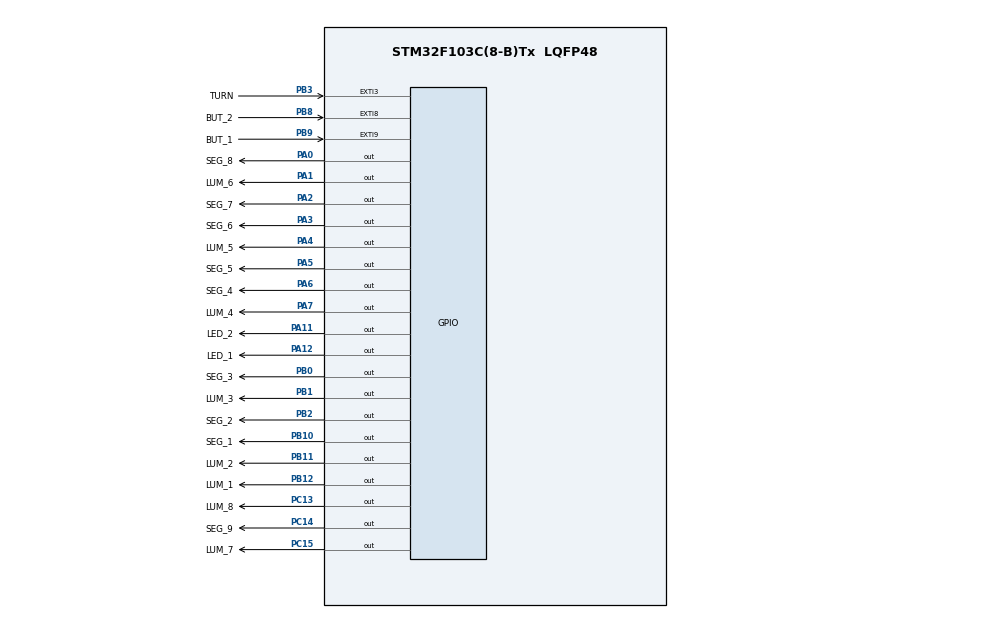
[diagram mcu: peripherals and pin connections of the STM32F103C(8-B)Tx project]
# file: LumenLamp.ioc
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Mcu.Family=STM32F1
Mcu.Name=STM32F103C(8-B)Tx
Mcu.Package=LQFP48
NVIC.PriorityGroup=NVIC_PRIORITYGROUP_4
NVIC.TIM1_UP_IRQn=true\:0\:0\:false\:false\:true\:true\:true\:true
PA0-WKUP.GPIO_Label=SEG_8
PA0-WKUP.PinState=GPIO_PIN_SET
PA0-WKUP.Signal=GPIO_Output
PA1.GPIO_Label=LUM_6
PA1.PinState=GPIO_PIN_SET
PA1.Signal=GPIO_Output
PA11.GPIO_Label=LED_2
PA11.Signal=GPIO_Output
PA12.GPIO_Label=LED_1
PA12.Signal=GPIO_Output
PA13.Mode=Serial_Wire
PA13.Signal=SYS_JTMS-SWDIO
PA14.Mode=Serial_Wire
PA14.Signal=SYS_JTCK-SWCLK
PA2.GPIO_Label=SEG_7
PA2.PinState=GPIO_PIN_SET
PA2.Signal=GPIO_Output
PA3.GPIO_Label=SEG_6
PA3.PinState=GPIO_PIN_SET
PA3.Signal=GPIO_Output
PA4.GPIO_Label=LUM_5
PA4.PinState=GPIO_PIN_SET
PA4.Signal=GPIO_Output
PA5.GPIO_Label=SEG_5
PA5.PinState=GPIO_PIN_SET
PA5.Signal=GPIO_Output
PA6.GPIO_Label=SEG_4
PA6.PinState=GPIO_PIN_SET
PA6.Signal=GPIO_Output
PA7.GPIO_Label=LUM_4
PA7.PinState=GPIO_PIN_SET
PA7.Signal=GPIO_Output
PB0.GPIO_Label=SEG_3
PB0.PinState=GPIO_PIN_SET
PB0.Signal=GPIO_Output
PB1.GPIO_Label=LUM_3
PB1.PinState=GPIO_PIN_SET
PB1.Signal=GPIO_Output
PB10.GPIO_Label=SEG_1
PB10.PinState=GPIO_PIN_SET
PB10.Signal=GPIO_Output
PB11.GPIO_Label=LUM_2
PB11.PinState=GPIO_PIN_SET
PB11.Signal=GPIO_Output
PB12.GPIO_Label=LUM_1
PB12.PinState=GPIO_PIN_SET
PB12.Signal=GPIO_Output
PB2.GPIO_Label=SEG_2
PB2.PinState=GPIO_PIN_SET
PB2.Signal=GPIO_Output
PB3.GPIO_Label=TURN
PB3.GPIO_ModeDefaultEXTI=GPIO_MODE_IT_FALLING
PB3.GPIO_PuPd=GPIO_PULLUP
PB3.Signal=GPXTI3
PB8.GPIO_Label=BUT_2
PB8.GPIO_ModeDefaultEXTI=GPIO_MODE_IT_FALLING
PB8.GPIO_PuPd=GPIO_PULLUP
PB8.Signal=GPXTI8
PB9.GPIO_Label=BUT_1
PB9.GPIO_ModeDefaultEXTI=GPIO_MODE_IT_FALLING
PB9.GPIO_PuPd=GPIO_PULLUP
PB9.Signal=GPXTI9
PC13-TAMPER-RTC.GPIO_Label=LUM_8
PC13-TAMPER-RTC.PinState=GPIO_PIN_SET
PC13-TAMPER-RTC.Signal=GPIO_Output
PC14-OSC32_IN.GPIO_Label=SEG_9
PC14-OSC32_IN.PinState=GPIO_PIN_SET
PC14-OSC32_IN.Signal=GPIO_Output
PC15-OSC32_OUT.GPIO_Label=LUM_7
PC15-OSC32_OUT.PinState=GPIO_PIN_SET
PC15-OSC32_OUT.Signal=GPIO_Output
ProjectManager.HeapSize=0x200
ProjectManager.StackSize=0x400
ProjectManager.TargetToolchain=STM32CubeIDE
RCC.APB1Freq_Value=8000000
RCC.APB2Freq_Value=8000000
TIM1.Period=10000
TIM1.Prescaler=800
VP_TIM1_VS_ClockSourceINT.Mode=Internal
board=custom

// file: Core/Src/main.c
/* USER CODE BEGIN Header */
/**
  ******************************************************************************
  * @file           : main.c
  * @brief          : Main program body
  ******************************************************************************
  * @attention
  *
  * Copyright (c) 2023 STMicroelectronics.
  * All rights reserved.
  *
  * This software is licensed under terms that can be found in the LICENSE file
  * in the root directory of this software component.
  * If no LICENSE file comes with this software, it is provided AS-IS.
  *
  ******************************************************************************
  */
/* USER CODE END Header */
#include "main.h"

/* USER CODE BEGIN PD */
#define SEG_1_GPIO GPIOB
#define SEG_2_GPIO GPIOB
#define SEG_3_GPIO GPIOB
#define SEG_4_GPIO GPIOA
#define SEG_5_GPIO GPIOA
#define SEG_6_GPIO GPIOA
#define SEG_7_GPIO GPIOA
#define SEG_8_GPIO GPIOA
#define SEG_9_GPIO GPIOC

#define LUM_1_GPIO GPIOB
#define LUM_2_GPIO GPIOB
#define LUM_3_GPIO GPIOB
#define LUM_4_GPIO GPIOA
#define LUM_5_GPIO GPIOA
#define LUM_6_GPIO GPIOA
#define LUM_7_GPIO GPIOC
#define LUM_8_GPIO GPIOC
/* USER CODE END PD */

TIM_HandleTypeDef htim1;

void SystemClock_Config(void);
static void MX_GPIO_Init(void);
static void MX_TIM1_Init(void);

/* USER CODE BEGIN PFP */
void TurnNumber(int number);
void TurnSegment(int number);
/* USER CODE END PFP */

/* USER CODE BEGIN 0 */
int delay = 4;
int second = 0;
int minute = 0;
int hour = 0;
/* USER CODE END 0 */

int main(void)
{

  /* MCU Configuration--------------------------------------------------------*/

  /* Reset of all peripherals, Initializes the Flash interface and the Systick. */
  HAL_Init();

  /* Configure the system clock */
  SystemClock_Config();

  /* Initialize all configured peripherals */
  MX_GPIO_Init();
  MX_TIM1_Init();
  /* USER CODE BEGIN 2 */
  HAL_TIM_Base_Start_IT(&htim1); // запуск таймера
  //TurnNumber(1);
  /* USER CODE END 2 */

  /* Infinite loop */
  /* USER CODE BEGIN WHILE */
  while (1)
  {
	  /*SEG_1 - LAST LEFT SEGMENT, SEG_9 - LAST RIGHT SEGMENT*/
	  /*SEG_1 - GPIOC, SEG_8_7_6_5_4 - GPIOA, SEG_3_2_1 - GPIOB*/
	  TurnSegment(1); // 1 second
	  TurnNumber(second%10);
	  HAL_Delay(delay);
	  TurnSegment(2);// 2 second
	  TurnNumber(second/10);
	  HAL_Delay(dedelayl);
	  TurnSegment(3); // tire
	  TurnNumber(10);
	  HAL_Delay(delay);
	  TurnSegment(4);// 1 minute
	  TurnNumber(minute%10);
	  HAL_Delay(delay);
	  TurnSegment(5);//2 minute
	  TurnNumber(minute/10);
	  HAL_Delay(delay);
	  TurnSegment(6); // tire
	  TurnNumber(10);
	  HAL_Delay(delay);
	  TurnSegment(7); //1 hour
	  TurnNumber(hour%10);
	  HAL_Delay(delay);
	  TurnSegment(8); //2 hour
	  TurnNumber(hour/10);
	  HAL_Delay(delay);

    /* USER CODE END WHILE */

  }
}

void SystemClock_Config(void)
{
  RCC_OscInitTypeDef RCC_OscInitStruct = {0};
  RCC_ClkInitTypeDef RCC_ClkInitStruct = {0};

  /** Initializes the RCC Oscillators according to the specified parameters
  * in the RCC_OscInitTypeDef structure.
  */
  RCC_OscInitStruct.OscillatorType = RCC_OSCILLATORTYPE_HSI;
  RCC_OscInitStruct.HSIState = RCC_HSI_ON;
  RCC_OscInitStruct.HSICalibrationValue = RCC_HSICALIBRATION_DEFAULT;
  RCC_OscInitStruct.PLL.PLLState = RCC_PLL_NONE;
  if (HAL_RCC_OscConfig(&RCC_OscInitStruct) != HAL_OK)
  {
    Error_Handler();
  }

  /** Initializes the CPU, AHB and APB buses clocks
  */
  RCC_ClkInitStruct.ClockType = RCC_CLOCKTYPE_HCLK|RCC_CLOCKTYPE_SYSCLK
                              |RCC_CLOCKTYPE_PCLK1|RCC_CLOCKTYPE_PCLK2;
  RCC_ClkInitStruct.SYSCLKSource = RCC_SYSCLKSOURCE_HSI;
  RCC_ClkInitStruct.AHBCLKDivider = RCC_SYSCLK_DIV1;
  RCC_ClkInitStruct.APB1CLKDivider = RCC_HCLK_DIV1;
  RCC_ClkInitStruct.APB2CLKDivider = RCC_HCLK_DIV1;

  if (HAL_RCC_ClockConfig(&RCC_ClkInitStruct, FLASH_LATENCY_0) != HAL_OK)
  {
    Error_Handler();
  }
}

static void MX_TIM1_Init(void)
{

  TIM_ClockConfigTypeDef sClockSourceConfig = {0};
  TIM_MasterConfigTypeDef sMasterConfig = {0};

  htim1.Instance = TIM1;
  htim1.Init.Prescaler = 800;
  htim1.Init.CounterMode = TIM_COUNTERMODE_UP;
  htim1.Init.Period = 10000;
  htim1.Init.ClockDivision = TIM_CLOCKDIVISION_DIV1;
  htim1.Init.RepetitionCounter = 0;
  htim1.Init.AutoReloadPreload = TIM_AUTORELOAD_PRELOAD_DISABLE;
  if (HAL_TIM_Base_Init(&htim1) != HAL_OK)
  {
    Error_Handler();
  }
  sClockSourceConfig.ClockSource = TIM_CLOCKSOURCE_INTERNAL;
  if (HAL_TIM_ConfigClockSource(&htim1, &sClockSourceConfig) != HAL_OK)
  {
    Error_Handler();
  }
  sMasterConfig.MasterOutputTrigger = TIM_TRGO_RESET;
  sMasterConfig.MasterSlaveMode = TIM_MASTERSLAVEMODE_DISABLE;
  if (HAL_TIMEx_MasterConfigSynchronization(&htim1, &sMasterConfig) != HAL_OK)
  {
    Error_Handler();
  }

}

static void MX_GPIO_Init(void)
{
  GPIO_InitTypeDef GPIO_InitStruct = {0};

  /* GPIO Ports Clock Enable */
  __HAL_RCC_GPIOC_CLK_ENABLE();
  __HAL_RCC_GPIOA_CLK_ENABLE();
  __HAL_RCC_GPIOB_CLK_ENABLE();

  /*Configure GPIO pin Output Level */
  HAL_GPIO_WritePin(GPIOC, LUM_8_Pin|SEG_9_Pin|LUM_7_Pin, GPIO_PIN_SET);

  /*Configure GPIO pin Output Level */
  HAL_GPIO_WritePin(GPIOA, SEG_8_Pin|LUM_6_Pin|SEG_7_Pin|SEG_6_Pin
                          |LUM_5_Pin|SEG_5_Pin|SEG_4_Pin|LUM_4_Pin, GPIO_PIN_SET);

  /*Configure GPIO pin Output Level */
  HAL_GPIO_WritePin(GPIOB, SEG_3_Pin|LUM_3_Pin|SEG_2_Pin|SEG_1_Pin
                          |LUM_2_Pin|LUM_1_Pin, GPIO_PIN_SET);

  /*Configure GPIO pin Output Level */
  HAL_GPIO_WritePin(GPIOA, LED_2_Pin|LED_1_Pin, GPIO_PIN_RESET);

  /*Configure GPIO pins : LUM_8_Pin SEG_9_Pin LUM_7_Pin */
  GPIO_InitStruct.Pin = LUM_8_Pin|SEG_9_Pin|LUM_7_Pin;
  GPIO_InitStruct.Mode = GPIO_MODE_OUTPUT_PP;
  GPIO_InitStruct.Pull = GPIO_NOPULL;
  GPIO_InitStruct.Speed = GPIO_SPEED_FREQ_LOW;
  HAL_GPIO_Init(GPIOC, &GPIO_InitStruct);

  /*Configure GPIO pins : SEG_8_Pin LUM_6_Pin SEG_7_Pin SEG_6_Pin
                           LUM_5_Pin SEG_5_Pin SEG_4_Pin LUM_4_Pin
                           LED_2_Pin LED_1_Pin */
  GPIO_InitStruct.Pin = SEG_8_Pin|LUM_6_Pin|SEG_7_Pin|SEG_6_Pin
                          |LUM_5_Pin|SEG_5_Pin|SEG_4_Pin|LUM_4_Pin
                          |LED_2_Pin|LED_1_Pin;
  GPIO_InitStruct.Mode = GPIO_MODE_OUTPUT_PP;
  GPIO_InitStruct.Pull = GPIO_NOPULL;
  GPIO_InitStruct.Speed = GPIO_SPEED_FREQ_LOW;
  HAL_GPIO_Init(GPIOA, &GPIO_InitStruct);

  /*Configure GPIO pins : SEG_3_Pin LUM_3_Pin SEG_2_Pin SEG_1_Pin
                           LUM_2_Pin LUM_1_Pin */
  GPIO_InitStruct.Pin = SEG_3_Pin|LUM_3_Pin|SEG_2_Pin|SEG_1_Pin
                          |LUM_2_Pin|LUM_1_Pin;
  GPIO_InitStruct.Mode = GPIO_MODE_OUTPUT_PP;
  GPIO_InitStruct.Pull = GPIO_NOPULL;
  GPIO_InitStruct.Speed = GPIO_SPEED_FREQ_LOW;
  HAL_GPIO_Init(GPIOB, &GPIO_InitStruct);

  /*Configure GPIO pins : TURN_Pin BUT_2_Pin BUT_1_Pin */
  GPIO_InitStruct.Pin = TURN_Pin|BUT_2_Pin|BUT_1_Pin;
  GPIO_InitStruct.Mode = GPIO_MODE_IT_FALLING;
  GPIO_InitStruct.Pull = GPIO_PULLUP;
  HAL_GPIO_Init(GPIOB, &GPIO_InitStruct);

}

/* USER CODE BEGIN 4 */
void TurnNumber(int number)
{
	HAL_GPIO_WritePin(GPIOA, LUM_6_Pin|LUM_5_Pin|LUM_4_Pin, GPIO_PIN_SET);
	HAL_GPIO_WritePin(GPIOC, LUM_8_Pin|LUM_7_Pin, GPIO_PIN_SET);
	HAL_GPIO_WritePin(GPIOB, LUM_3_Pin|LUM_2_Pin|LUM_1_Pin, GPIO_PIN_SET);

	switch (number)
	{
		case 0:
			HAL_GPIO_WritePin(GPIOA, LUM_6_Pin|LUM_5_Pin|LUM_4_Pin, GPIO_PIN_RESET);
			HAL_GPIO_WritePin(GPIOC, LUM_8_Pin, GPIO_PIN_RESET);
			HAL_GPIO_WritePin(GPIOB, LUM_3_Pin|LUM_2_Pin|LUM_1_Pin, GPIO_PIN_RESET);
			break;
		case 1:
			HAL_GPIO_WritePin(GPIOB, LUM_3_Pin|LUM_2_Pin, GPIO_PIN_RESET);
			break;
		case 2:
			HAL_GPIO_WritePin(GPIOA, LUM_6_Pin|LUM_5_Pin, GPIO_PIN_RESET);
			HAL_GPIO_WritePin(GPIOC, LUM_7_Pin, GPIO_PIN_RESET);
			HAL_GPIO_WritePin(GPIOB, LUM_2_Pin|LUM_1_Pin, GPIO_PIN_RESET);
			break;
		case 3:
			HAL_GPIO_WritePin(GPIOA, LUM_5_Pin, GPIO_PIN_RESET);
			HAL_GPIO_WritePin(GPIOC, LUM_7_Pin, GPIO_PIN_RESET);
			HAL_GPIO_WritePin(GPIOB, LUM_3_Pin|LUM_2_Pin|LUM_1_Pin, GPIO_PIN_RESET);
			break;
		case 4:
			HAL_GPIO_WritePin(GPIOC, LUM_8_Pin|LUM_7_Pin, GPIO_PIN_RESET);
			HAL_GPIO_WritePin(GPIOB, LUM_3_Pin|LUM_2_Pin, GPIO_PIN_RESET);
			break;
		case 5:
			HAL_GPIO_WritePin(GPIOA, LUM_5_Pin, GPIO_PIN_RESET);
			HAL_GPIO_WritePin(GPIOC, LUM_8_Pin|LUM_7_Pin, GPIO_PIN_RESET);
			HAL_GPIO_WritePin(GPIOB, LUM_3_Pin|LUM_1_Pin, GPIO_PIN_RESET);
			break;
		case 6:
			HAL_GPIO_WritePin(GPIOA, LUM_6_Pin|LUM_5_Pin, GPIO_PIN_RESET);
			HAL_GPIO_WritePin(GPIOC, LUM_8_Pin|LUM_7_Pin, GPIO_PIN_RESET);
			HAL_GPIO_WritePin(GPIOB, LUM_3_Pin|LUM_1_Pin, GPIO_PIN_RESET);
			break;
		case 7:
			HAL_GPIO_WritePin(GPIOB, LUM_3_Pin|LUM_2_Pin|LUM_1_Pin, GPIO_PIN_RESET);
			break;
		case 8:
			HAL_GPIO_WritePin(GPIOA, LUM_6_Pin|LUM_5_Pin, GPIO_PIN_RESET);
			HAL_GPIO_WritePin(GPIOC, LUM_8_Pin|LUM_7_Pin, GPIO_PIN_RESET);
			HAL_GPIO_WritePin(GPIOB, LUM_3_Pin|LUM_2_Pin|LUM_1_Pin, GPIO_PIN_RESET);
			break;
		case 9:
			HAL_GPIO_WritePin(GPIOA, LUM_5_Pin, GPIO_PIN_RESET);
			HAL_GPIO_WritePin(GPIOC, LUM_8_Pin|LUM_7_Pin, GPIO_PIN_RESET);
			HAL_GPIO_WritePin(GPIOB, LUM_3_Pin|LUM_2_Pin|LUM_1_Pin, GPIO_PIN_RESET);
			break;
		case 10:
			HAL_GPIO_WritePin(GPIOC, LUM_7_Pin, GPIO_PIN_RESET);
			break;

	}
}

void TurnSegment(int number)
{
	HAL_GPIO_WritePin(SEG_1_GPIO, SEG_1_Pin, GPIO_PIN_SET);
	HAL_GPIO_WritePin(SEG_2_GPIO, SEG_2_Pin, GPIO_PIN_SET);
	HAL_GPIO_WritePin(SEG_3_GPIO, SEG_3_Pin, GPIO_PIN_SET);
	HAL_GPIO_WritePin(SEG_4_GPIO, SEG_4_Pin, GPIO_PIN_SET);
	HAL_GPIO_WritePin(SEG_5_GPIO, SEG_5_Pin, GPIO_PIN_SET);
	HAL_GPIO_WritePin(SEG_6_GPIO, SEG_6_Pin, GPIO_PIN_SET);
	HAL_GPIO_WritePin(SEG_7_GPIO, SEG_7_Pin, GPIO_PIN_SET);
	HAL_GPIO_WritePin(SEG_8_GPIO, SEG_8_Pin, GPIO_PIN_SET);
	HAL_GPIO_WritePin(SEG_9_GPIO, SEG_9_Pin, GPIO_PIN_SET);

	switch (number)
	{
		case 1:
			HAL_GPIO_WritePin(SEG_1_GPIO, SEG_1_Pin, GPIO_PIN_RESET);
			break;
		case 2:
			HAL_GPIO_WritePin(SEG_2_GPIO, SEG_2_Pin, GPIO_PIN_RESET);
			break;
		case 3:
			HAL_GPIO_WritePin(SEG_3_GPIO, SEG_3_Pin, GPIO_PIN_RESET);
			break;
		case 4:
			HAL_GPIO_WritePin(SEG_4_GPIO, SEG_4_Pin, GPIO_PIN_RESET);
			break;
		case 5:
			HAL_GPIO_WritePin(SEG_5_GPIO, SEG_5_Pin, GPIO_PIN_RESET);
			break;
		case 6:
			HAL_GPIO_WritePin(SEG_6_GPIO, SEG_6_Pin, GPIO_PIN_RESET);
			break;
		case 7:
			HAL_GPIO_WritePin(SEG_7_GPIO, SEG_7_Pin, GPIO_PIN_RESET);
			break;
		case 8:
			HAL_GPIO_WritePin(SEG_8_GPIO, SEG_8_Pin, GPIO_PIN_RESET);
			break;
		case 9:
			HAL_GPIO_WritePin(SEG_9_GPIO, SEG_9_Pin, GPIO_PIN_RESET);
			break;

	}
}
/* USER CODE END 4 */

void Error_Handler(void)
{
  __disable_irq();
  while (1)
  {
  }
}
